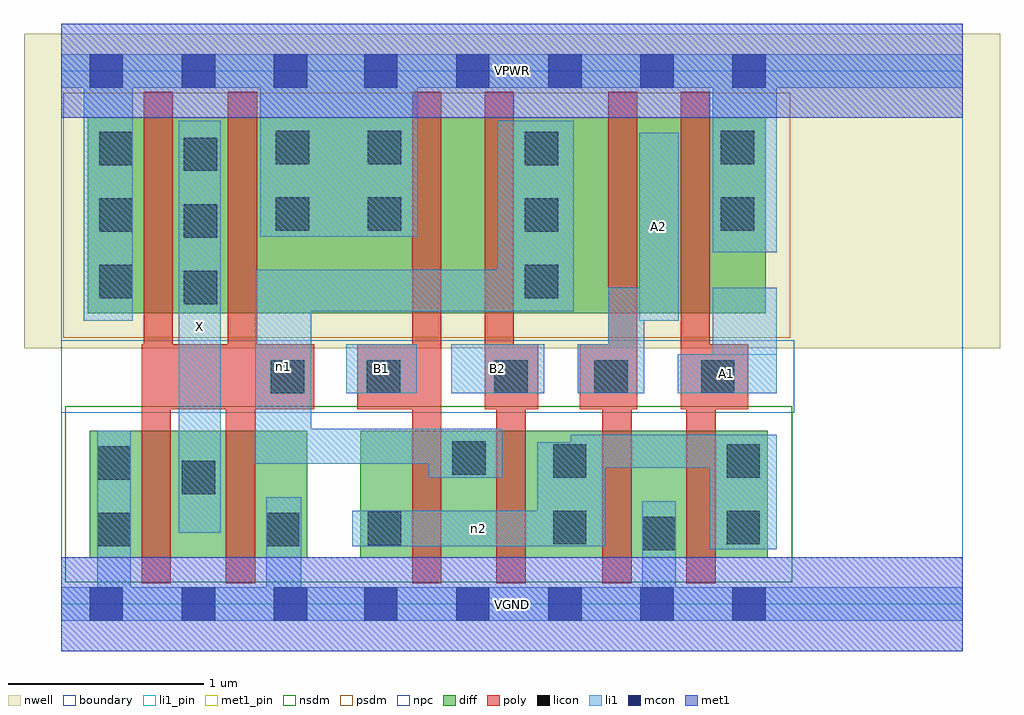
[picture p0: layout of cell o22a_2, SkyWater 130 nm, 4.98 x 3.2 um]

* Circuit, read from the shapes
.subckt o22a_2 A1 A2 B1 B2 VGND VPWR X n1 n2
XM1 X n1 VGND VSUBS sky130_fd_pr__nfet_01v8 w=0.65 l=0.15 m=2
XM2 n1 B1 n2 VSUBS sky130_fd_pr__nfet_01v8 w=0.65 l=0.15
XM3 n2 B2 n1 VSUBS sky130_fd_pr__nfet_01v8 w=0.65 l=0.15
XM4 VGND A2 n2 VSUBS sky130_fd_pr__nfet_01v8 w=0.65 l=0.15
XM5 n2 A1 VGND VSUBS sky130_fd_pr__nfet_01v8 w=0.65 l=0.15
XM6 X n1 VPWR n3 sky130_fd_pr__pfet_01v8 w=1 l=0.15 m=2
XM7 n4 B1 VPWR n3 sky130_fd_pr__pfet_01v8 w=1 l=0.15
XM8 n1 B2 n4 n3 sky130_fd_pr__pfet_01v8 w=1 l=0.15
XM9 n5 A2 n1 n3 sky130_fd_pr__pfet_01v8 w=1 l=0.15
XM10 VPWR A1 n5 n3 sky130_fd_pr__pfet_01v8 w=1 l=0.15
.ends

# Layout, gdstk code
import gdstk
lib = gdstk.Library(unit=1e-6, precision=1e-09)
def R(c, l, rs):  # rectangles x0, y0, x1, y1
    for r in rs: c.add(gdstk.rectangle(r[:2], r[2:], *l))
def A(c, l, x, y, w, h, nx, ny, dx, dy):  # array of equal rectangles
    R(c, l, [(x+i*dx, y+j*dy, x+i*dx+w, y+j*dy+h) for i in range(nx) for j in range(ny)])
nwell = (64, 20)
diff = (65, 20)
poly = (66, 20)
licon = (66, 44)
li1_pin = (67, 16)
li1 = (67, 20)
mcon = (67, 44)
met1_pin = (68, 16)
met1 = (68, 20)
nsdm = (93, 44)
psdm = (94, 20)
npc = (95, 20)
boundary = (235, 4)

o22a_2 = lib.new_cell('o22a_2')
R(o22a_2, nwell, [(-0.19,1.305,4.79,2.91), (0,1.305,4.6,2.91)])
R(o22a_2, diff, [(0.145,0.235,1.255,0.885), (1.525,0.235,3.605,0.885), (0.135,1.485,3.595,2.485)])
R(o22a_2, poly, [(0.41,0.105,0.56,1.325), (0.84,0.105,0.99,1.325), (1.79,0.105,1.94,2.615), (2.22,0.105,2.37,1.325), (2.76,0.105,2.91,1.325), (3.19,0.105,3.34,1.325), (0.41,0.995,1.29,1.325), (0.42,0.995,0.57,2.615), (0.85,0.995,1,2.615), (1.51,0.995,1.94,1.325), (2.16,0.995,2.31,2.615), (2.16,0.995,2.435,1.325), (2.645,0.995,2.94,1.325), (2.79,0.995,2.94,2.615), (3.16,0.995,3.31,2.615), (3.16,0.995,3.505,1.325)])
A(o22a_2, licon, 0.625, 1.53, 0.17, 0.17, 1, 3, 0, 0.34)
A(o22a_2, licon, 0.195, 1.56, 0.17, 0.17, 1, 3, 0, 0.34)
A(o22a_2, licon, 2.365, 1.56, 0.17, 0.17, 1, 3, 0, 0.34)
R(o22a_2, licon, [(2.965,0.275,3.135,0.445), (0.185,0.295,0.355,0.465), (1.045,0.295,1.215,0.465), (1.565,0.3,1.735,0.47), (2.51,0.305,2.68,0.475), (3.395,0.305,3.565,0.475), (0.615,0.56,0.785,0.73), (0.185,0.635,0.355,0.805), (2.51,0.645,2.68,0.815), (3.395,0.645,3.565,0.815), (1.995,0.66,2.165,0.83), (1.07,1.075,1.24,1.245), (1.56,1.075,1.73,1.245), (2.21,1.075,2.38,1.245), (2.72,1.075,2.89,1.245), (3.265,1.075,3.435,1.245), (1.095,1.905,1.265,2.075), (1.565,1.905,1.735,2.075), (3.365,1.905,3.535,2.075), (1.095,2.245,1.265,2.415), (1.565,2.245,1.735,2.415), (3.365,2.245,3.535,2.415)])
R(o22a_2, li1_pin, [(0.6,0.365,0.815,2.465), (1.455,1.075,1.815,1.325), (1.99,1.075,2.465,1.325), (3.145,1.075,3.65,1.275), (2.95,1.445,3.15,2.405)])
R(o22a_2, li1, [(0,-0.085,4.6,0.085), (0.185,-0.085,0.355,0.885), (1.045,-0.085,1.225,0.545), (2.965,-0.085,3.135,0.525), (3.31,0.28,3.65,0.865), (1.485,0.295,2.775,0.475), (2.43,0.295,2.775,0.825), (0.6,0.365,0.815,2.465), (1.875,0.645,2.25,0.895), (2.6,0.695,3.65,0.865), (0.99,0.715,1.275,1.705), (0.99,0.715,2.25,0.895), (1.455,1.075,1.815,1.325), (1.99,1.075,2.465,1.325), (2.635,1.075,2.975,1.325), (2.79,1.075,2.975,1.615), (3.145,1.075,3.65,1.275), (3.325,1.075,3.65,1.615), (0.115,1.445,0.365,2.805), (2.95,1.445,3.15,2.405), (0.99,1.495,2.615,1.705), (2.225,1.495,2.615,2.465), (3.325,1.795,3.65,2.805), (1.015,1.875,1.82,2.805), (0,2.635,4.6,2.805)])
A(o22a_2, mcon, 0.145, -0.085, 0.17, 0.17, 3, 2, 0.47, 2.72)
A(o22a_2, mcon, 1.545, -0.085, 0.17, 0.17, 5, 2, 0.47, 2.72)
R(o22a_2, met1_pin, [(0,-0.24,4.6,0.24), (0,2.48,4.6,2.96)])
R(o22a_2, met1, [(0,-0.24,4.6,0.24), (0,2.48,4.6,2.96)])
R(o22a_2, nsdm, [(0.02,0.11,3.73,1.01)])
R(o22a_2, psdm, [(0.01,1.36,3.72,2.61)])
R(o22a_2, npc, [(0,0.975,3.74,1.345)])
R(o22a_2, boundary, [(0,0,4.6,2.72)])
o22a_2.add(gdstk.Label('A1', (3.397,1.175), layer=67, texttype=5))
o22a_2.add(gdstk.Label('A2', (3.05,1.925), layer=67, texttype=5))
o22a_2.add(gdstk.Label('B1', (1.635,1.2), layer=67, texttype=5))
o22a_2.add(gdstk.Label('B2', (2.227,1.2), layer=67, texttype=5))
o22a_2.add(gdstk.Label('X', (0.707,1.415), layer=67, texttype=5))
o22a_2.add(gdstk.Label('n2', (2.13,0.385), layer=67, texttype=5))
o22a_2.add(gdstk.Label('n1', (1.132,1.21), layer=67, texttype=5))
o22a_2.add(gdstk.Label('VPWR', (2.3,2.72), layer=68, texttype=5))
o22a_2.add(gdstk.Label('VGND', (2.3,0), layer=68, texttype=5))
o22a_2.add(gdstk.Label('A1', (3.397,1.175), layer=67, texttype=16))
o22a_2.add(gdstk.Label('A2', (3.05,1.925), layer=67, texttype=16))
o22a_2.add(gdstk.Label('B1', (1.635,1.2), layer=67, texttype=16))
o22a_2.add(gdstk.Label('B2', (2.227,1.2), layer=67, texttype=16))
o22a_2.add(gdstk.Label('X', (0.707,1.415), layer=67, texttype=16))
o22a_2.add(gdstk.Label('VPWR', (2.3,2.72), layer=68, texttype=16))
o22a_2.add(gdstk.Label('VGND', (2.3,0), layer=68, texttype=16))

lib.write_gds('o22a_2.gds')
